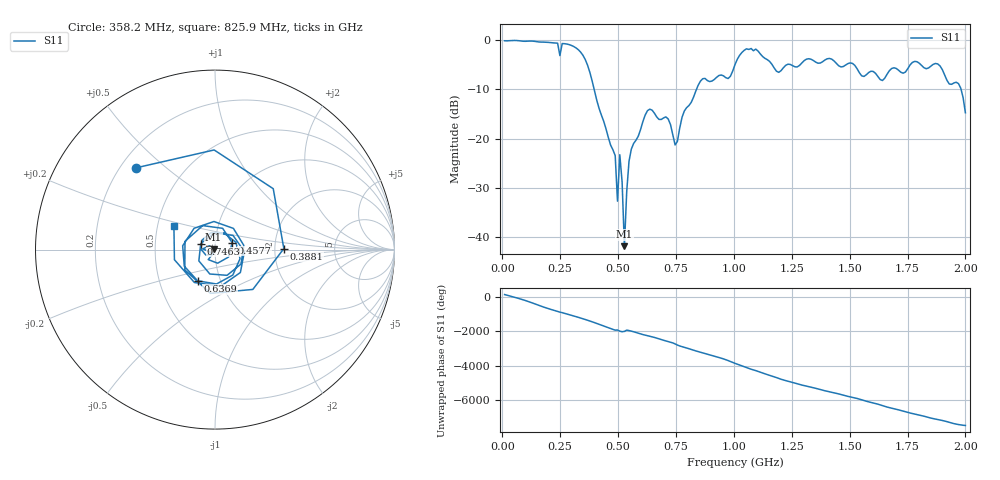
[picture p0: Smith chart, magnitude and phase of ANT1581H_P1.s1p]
!Created with skrf (http://scikit-rf.org).
# Hz S RI R 50.0
!freq ReS11 ImS11
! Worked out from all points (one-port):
!   201 points, 10 MHz to 2 GHz, reference 50 ohm
!   lowest |S11| = -41.8 dB at 527.4 MHz (marker M1), VSWR 1.02, Z = 49.2 + j0.225 ohm
!   |S11| at or under -10 dB: 396.6 MHz to 838.8 MHz (442.2 MHz wide, 71.6 % of centre); 1.981 GHz to end of sweep
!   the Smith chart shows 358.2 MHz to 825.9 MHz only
!   S11 on the Smith chart (normalised r, x): 358.2 MHz: 0.26, +0.40; 388.1 MHz: 2.24, +0.03; 457.8 MHz: 1.21, +0.09; 636.9 MHz: 0.78, -0.28; 746.3 MHz: 0.85, +0.06; 825.9 MHz: 0.61, +0.17
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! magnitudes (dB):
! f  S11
! 10 MHz  -0.2
! 248.8 MHz  -3.2
! 258.8 MHz  -0.7
! 358.2 MHz  -4.0
! 388.1 MHz  -8.3
! 457.8 MHz  -19.7
! 487.6 MHz  -23.4
! 497.6 MHz  -32.7
! 507.5 MHz  -23.3
! 517.5 MHz  -28.8
! 527.4 MHz  -41.8
! 537.4 MHz  -30.7
! 547.3 MHz  -24.6
! 636.9 MHz  -14.0
! 716.5 MHz  -16.0
! 746.3 MHz  -21.3
! 756.2 MHz  -20.6
! 825.9 MHz  -11.6
! 1.005 GHz  -5.0
! 1.075 GHz  -1.7
! 1.194 GHz  -6.6
! 1.254 GHz  -5.2
! 1.502 GHz  -4.7
! 1.642 GHz  -8.2
! 1.751 GHz  -5.8
! 1.881 GHz  -4.9
! 1.97 GHz  -8.8
! 2 GHz  -14.7
